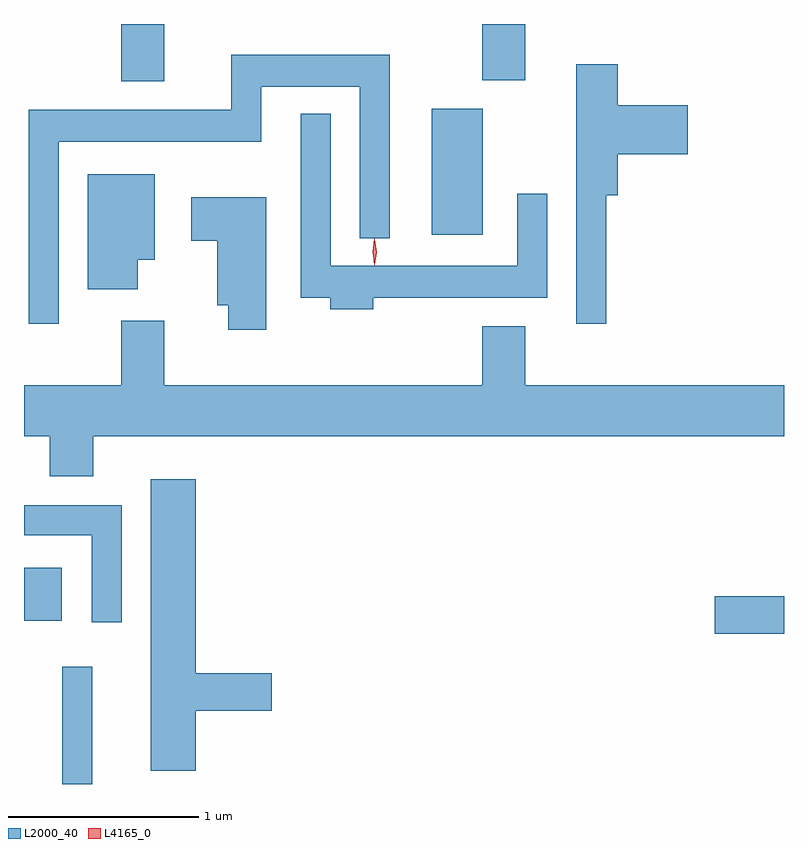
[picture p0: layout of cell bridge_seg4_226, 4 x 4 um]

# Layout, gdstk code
import gdstk
lib = gdstk.Library(unit=1e-6, precision=1e-09)
def R(c, l, rs):  # rectangles x0, y0, x1, y1
    for r in rs: c.add(gdstk.rectangle(r[:2], r[2:], *l))
def P(c, l, *ps):  # polygons
    for p in ps: c.add(gdstk.Polygon(p, *l))
L2000_40 = (2000, 40)
L4165_0 = (4165, 0)

bridge_seg4_226 = lib.new_cell('bridge_seg4_226')
R(bridge_seg4_226, L2000_40, [(1060.981,1292.906,1061.139,1293.523), (1064.416,1293.696,1064.78,1293.894), (1060.78,1293.766,1060.979,1294.044), (1062.926,1295.796,1063.194,1296.459), (1061.291,1296.606,1061.519,1296.906), (1063.191,1296.611,1063.419,1296.906)])
P(bridge_seg4_226, L2000_40, [(1060.964,1296.286),(1062.029,1296.286),(1062.029,1296.576),(1062.546,1296.576),(1062.546,1295.778),(1062.704,1295.778),(1062.704,1296.744),(1061.871,1296.744),(1061.871,1296.454),(1060.806,1296.454),(1060.806,1295.328),(1060.964,1295.328)],
  [(1063.844,1296.006),(1063.904,1296.006),(1063.904,1296.221),(1064.274,1296.221),(1064.274,1296.479),(1063.904,1296.479),(1063.904,1296.694),(1063.686,1296.694),(1063.686,1295.328),(1063.844,1295.328)],
  [(1062.619,1295.466),(1063.534,1295.466),(1063.534,1296.013),(1063.376,1296.013),(1063.376,1295.634),(1062.394,1295.634),(1062.394,1296.433),(1062.236,1296.433),(1062.236,1295.466),(1062.391,1295.466),(1062.391,1295.406),(1062.619,1295.406)],
  [(1061.379,1295.666),(1061.469,1295.666),(1061.469,1296.114),(1061.116,1296.114),(1061.116,1295.511),(1061.379,1295.511)],
  [(1062.054,1295.994),(1061.661,1295.994),(1061.661,1295.766),(1061.796,1295.766),(1061.796,1295.426),(1061.856,1295.426),(1061.856,1295.296),(1062.054,1295.296)],
  [(1061.144,1294.736),(1064.78,1294.736),(1064.78,1295.004),(1063.419,1295.004),(1063.419,1295.314),(1063.191,1295.314),(1063.191,1295.004),(1061.519,1295.004),(1061.519,1295.344),(1061.291,1295.344),(1061.291,1295.004),(1060.78,1295.004),(1060.78,1294.736),(1060.916,1294.736),(1060.916,1294.526),(1061.144,1294.526)],
  [(1061.684,1293.291),(1062.084,1293.291),(1062.084,1293.489),(1061.684,1293.489),(1061.684,1294.509),(1061.446,1294.509),(1061.446,1292.976),(1061.684,1292.976)],
  [(1061.294,1294.374),(1060.78,1294.374),(1060.78,1294.216),(1061.136,1294.216),(1061.136,1293.758),(1061.294,1293.758)])
P(bridge_seg4_226, L4165_0, [(1062.626,1295.639),(1062.625,1295.64),(1062.616,1295.706),(1062.625,1295.772),(1062.626,1295.773),(1062.626,1295.772),(1062.636,1295.706),(1062.626,1295.64)],
  [(1062.625,1295.637),(1062.624,1295.638),(1062.615,1295.707),(1062.624,1295.776),(1062.625,1295.776),(1062.625,1295.776),(1062.635,1295.707),(1062.625,1295.638)])

lib.write_gds('bridge_seg4_226.gds')
